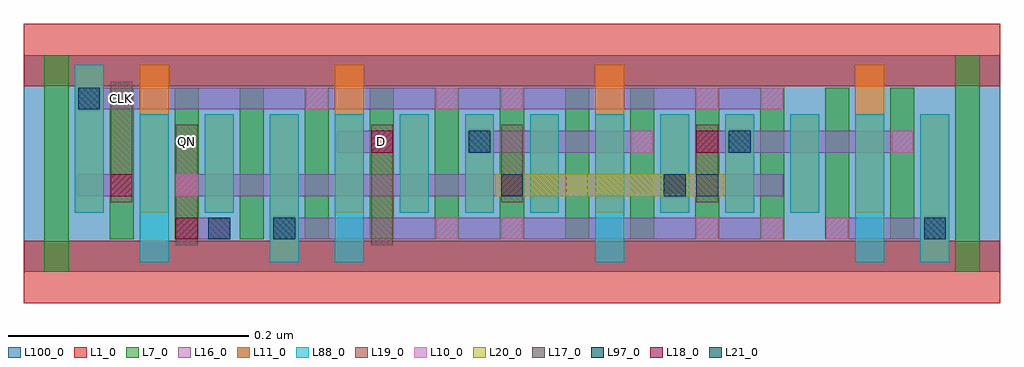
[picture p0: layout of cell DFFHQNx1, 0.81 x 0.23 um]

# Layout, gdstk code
import gdstk
lib = gdstk.Library(unit=1e-6, precision=2.5e-10)
def R(c, l, rs):  # rectangles x0, y0, x1, y1
    for r in rs: c.add(gdstk.rectangle(r[:2], r[2:], *l))
def A(c, l, x, y, w, h, nx, ny, dx, dy):  # array of equal rectangles
    R(c, l, [(x+i*dx, y+j*dy, x+i*dx+w, y+j*dy+h) for i in range(nx) for j in range(ny)])
L1_0 = (1, 0)
L7_0 = (7, 0)
L10_0 = (10, 0)
L11_0 = (11, 0)
L16_0 = (16, 0)
L17_0 = (17, 0)
L18_0 = (18, 0)
L19_0 = (19, 0)
L20_0 = (20, 0)
L21_0 = (21, 0)
L88_0 = (88, 0)
L97_0 = (97, 0)
L100_0 = (100, 0)

dffhqnx1 = lib.new_cell('DFFHQNx1')
R(dffhqnx1, L1_0, [(0,-0.026,0.81,0.026), (0,0.154,0.81,0.206)])
A(dffhqnx1, L7_0, 0.071, 0.027, 0.02, 0.126, 13, 1, 0.054, 0)
R(dffhqnx1, L7_0, [(0.017,0,0.037,0.18), (0.773,0,0.793,0.18), (0.395,0.027,0.415,0.126), (0.557,0.027,0.577,0.126), (0.341,0.054,0.361,0.153), (0.611,0.054,0.631,0.153)])
A(dffhqnx1, L10_0, 0.558, 0.027, 0.018, 0.018, 3, 1, 0.054, 0)
A(dffhqnx1, L10_0, 0.288, 0.099, 0.018, 0.018, 3, 1, 0.216, 0)
R(dffhqnx1, L10_0, [(0.342,0.027,0.36,0.045), (0.396,0.027,0.414,0.045), (0.072,0.063,0.09,0.081), (0.126,0.063,0.144,0.081), (0.45,0.063,0.468,0.081), (0.234,0.135,0.252,0.153), (0.342,0.135,0.36,0.153), (0.396,0.135,0.414,0.153), (0.558,0.135,0.576,0.153), (0.612,0.135,0.63,0.153)])
A(dffhqnx1, L11_0, 0.258, 0.049, 0.024, 0.123, 3, 1, 0.216, 0)
A(dffhqnx1, L11_0, 0.312, 0.049, 0.024, 0.082, 3, 1, 0.054, 0)
A(dffhqnx1, L11_0, 0.528, 0.049, 0.024, 0.082, 3, 1, 0.054, 0)
R(dffhqnx1, L11_0, [(0.204,0.008,0.228,0.131), (0.744,0.008,0.768,0.131), (0.042,0.049,0.066,0.172), (0.096,0.049,0.12,0.172), (0.15,0.049,0.174,0.131)])
R(dffhqnx1, L16_0, [(0.126,0.027,0.171,0.045), (0.207,0.027,0.63,0.045), (0.666,0.027,0.765,0.045), (0.045,0.063,0.09,0.081), (0.126,0.063,0.414,0.081), (0.45,0.063,0.63,0.081), (0.261,0.099,0.306,0.117), (0.369,0.099,0.522,0.117), (0.558,0.099,0.738,0.117), (0.045,0.135,0.63,0.153)])
R(dffhqnx1, L17_0, [(0.153,0.027,0.171,0.045), (0.207,0.027,0.225,0.045), (0.747,0.027,0.765,0.045), (0.531,0.063,0.549,0.081), (0.369,0.099,0.387,0.117), (0.585,0.099,0.603,0.117), (0.045,0.135,0.063,0.153)])
R(dffhqnx1, L18_0, [(0.126,0.027,0.144,0.045), (0.072,0.063,0.09,0.081), (0.396,0.063,0.414,0.081), (0.288,0.099,0.306,0.117), (0.558,0.099,0.576,0.117)])
R(dffhqnx1, L19_0, [(0.126,0.022,0.144,0.122), (0.288,0.022,0.306,0.122), (0.072,0.058,0.09,0.158), (0.396,0.058,0.414,0.122), (0.558,0.058,0.576,0.122)])
R(dffhqnx1, L20_0, [(0.391,0.063,0.581,0.081)])
R(dffhqnx1, L21_0, [(0.396,0.063,0.414,0.081), (0.558,0.063,0.576,0.081)])
A(dffhqnx1, L88_0, 0.258, 0.008, 0.024, 0.123, 3, 1, 0.216, 0)
A(dffhqnx1, L88_0, 0.312, 0.049, 0.024, 0.082, 3, 1, 0.054, 0)
A(dffhqnx1, L88_0, 0.528, 0.049, 0.024, 0.082, 3, 1, 0.054, 0)
R(dffhqnx1, L88_0, [(0.096,0.008,0.12,0.131), (0.204,0.008,0.228,0.131), (0.744,0.008,0.768,0.131), (0.042,0.049,0.066,0.172), (0.15,0.049,0.174,0.131)])
R(dffhqnx1, L97_0, [(0.153,0.027,0.171,0.045), (0.207,0.027,0.225,0.045), (0.747,0.027,0.765,0.045), (0.531,0.063,0.549,0.081), (0.369,0.099,0.387,0.117), (0.585,0.099,0.603,0.117), (0.045,0.135,0.063,0.153)])
R(dffhqnx1, L100_0, [(0,0,0.81,0.18)])
dffhqnx1.add(gdstk.Label('CLK', (0.081,0.144), layer=19, texttype=251))
dffhqnx1.add(gdstk.Label('D', (0.297,0.108), layer=19, texttype=251))
dffhqnx1.add(gdstk.Label('QN', (0.135,0.108), layer=19, texttype=251))

lib.write_gds('DFFHQNx1.gds')
